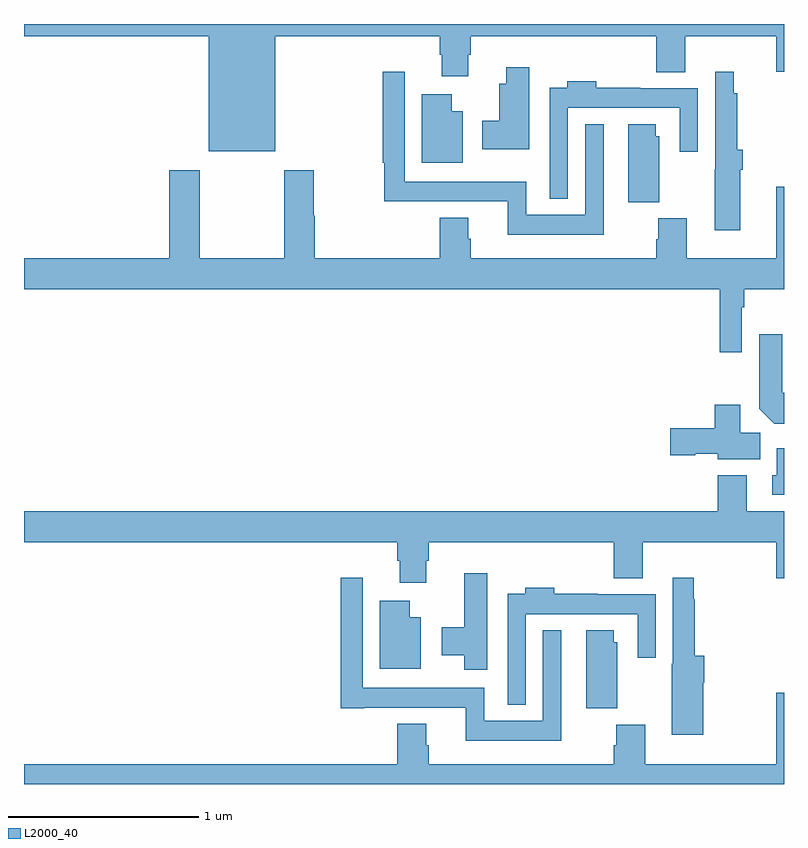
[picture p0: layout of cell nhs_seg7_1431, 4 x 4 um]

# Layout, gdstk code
import gdstk
lib = gdstk.Library(unit=1e-6, precision=1e-09)
def P(c, l, *ps):  # polygons
    for p in ps: c.add(gdstk.Polygon(p, *l))
L2000_40 = (2000, 40)

nhs_seg7_1431 = lib.new_cell('nhs_seg7_1431')
P(nhs_seg7_1431, L2000_40, [(210.322,1013.936),(211.187,1013.936),(211.187,1013.838),(211.199,1013.838),(211.199,1013.724),(211.339,1013.724),(211.339,1013.838),(211.352,1013.838),(211.352,1013.936),(212.327,1013.936),(212.327,1013.747),(212.479,1013.747),(212.479,1013.936),(212.96,1013.936),(212.96,1013.748),(213,1013.748),(213,1014),(209,1014),(209,1013.936),(209.972,1013.936),(209.972,1013.33),(210.322,1013.33)],
  [(211.66,1013.773),(211.538,1013.773),(211.538,1013.686),(211.502,1013.686),(211.502,1013.49),(211.413,1013.49),(211.413,1013.342),(211.66,1013.342)],
  [(212.05,1013.473),(211.953,1013.473),(211.953,1012.996),(211.644,1012.996),(211.644,1013.17),(211.005,1013.17),(211.005,1013.749),(210.889,1013.749),(210.889,1013.27),(210.897,1013.27),(210.897,1013.066),(211.547,1013.066),(211.547,1012.892),(212.05,1012.892)],
  [(212.77,1013.234),(212.783,1013.234),(212.783,1013.338),(212.753,1013.338),(212.753,1013.636),(212.736,1013.636),(212.736,1013.749),(212.637,1013.749),(212.637,1013.234),(212.636,1013.234),(212.636,1012.914),(212.77,1012.914)],
  [(211.863,1013.558),(212.451,1013.558),(212.451,1013.328),(212.547,1013.328),(212.547,1013.662),(212.243,1013.662),(212.243,1013.665),(212.012,1013.665),(212.012,1013.698),(211.859,1013.698),(211.859,1013.665),(211.767,1013.665),(211.767,1013.081),(211.863,1013.081)],
  [(211.309,1013.542),(211.252,1013.542),(211.252,1013.629),(211.094,1013.629),(211.094,1013.27),(211.309,1013.27)],
  [(212.344,1013.409),(212.326,1013.409),(212.326,1013.473),(212.18,1013.473),(212.18,1013.062),(212.344,1013.062)],
  [(212.778,1012.508),(212.791,1012.508),(212.791,1012.604),(213,1012.604),(213,1013.143),(212.96,1013.143),(212.96,1012.768),(212.487,1012.768),(212.487,1012.977),(212.339,1012.977),(212.339,1012.868),(212.327,1012.868),(212.327,1012.768),(211.352,1012.768),(211.352,1012.869),(211.339,1012.869),(211.339,1012.981),(211.187,1012.981),(211.187,1012.768),(210.53,1012.768),(210.53,1012.991),(210.525,1012.991),(210.525,1013.23),(210.37,1013.23),(210.37,1012.768),(209.925,1012.768),(209.925,1013.23),(209.765,1013.23),(209.765,1012.768),(209,1012.768),(209,1012.604),(212.662,1012.604),(212.662,1012.272),(212.778,1012.272)],
  [(213,1012.06),(212.992,1012.06),(212.992,1012.366),(212.87,1012.366),(212.87,1011.974),(212.948,1011.896),(213,1011.896)],
  [(212.875,1011.848),(212.77,1011.848),(212.77,1011.997),(212.636,1011.997),(212.636,1011.872),(212.4,1011.872),(212.4,1011.73),(212.532,1011.73),(212.532,1011.737),(212.652,1011.737),(212.652,1011.71),(212.875,1011.71)],
  [(213,1011.766),(212.963,1011.766),(212.963,1011.624),(212.939,1011.624),(212.939,1011.522),(213,1011.522)],
  [(211.117,1011.174),(211.13,1011.174),(211.13,1011.272),(212.105,1011.272),(212.105,1011.083),(212.257,1011.083),(212.257,1011.272),(212.96,1011.272),(212.96,1011.084),(213,1011.084),(213,1011.436),(212.803,1011.436),(212.803,1011.625),(212.651,1011.625),(212.651,1011.436),(209,1011.436),(209,1011.272),(210.965,1011.272),(210.965,1011.174),(210.977,1011.174),(210.977,1011.06),(211.117,1011.06)],
  [(211.438,1011.109),(211.316,1011.109),(211.316,1010.826),(211.199,1010.826),(211.199,1010.678),(211.316,1010.678),(211.316,1010.601),(211.438,1010.601)],
  [(211.828,1010.809),(211.731,1010.809),(211.731,1010.332),(211.422,1010.332),(211.422,1010.506),(210.783,1010.506),(210.783,1011.085),(210.667,1011.085),(210.667,1010.4),(210.79,1010.4),(210.79,1010.402),(211.325,1010.402),(211.325,1010.228),(211.828,1010.228)],
  [(212.574,1010.534),(212.579,1010.534),(212.579,1010.674),(212.531,1010.674),(212.531,1010.972),(212.524,1010.972),(212.524,1011.085),(212.415,1011.085),(212.415,1010.634),(212.408,1010.634),(212.408,1010.258),(212.574,1010.258)],
  [(211.641,1010.894),(212.229,1010.894),(212.229,1010.664),(212.325,1010.664),(212.325,1010.998),(212.021,1010.998),(212.021,1011.001),(211.79,1011.001),(211.79,1011.034),(211.637,1011.034),(211.637,1011.001),(211.545,1011.001),(211.545,1010.417),(211.641,1010.417)],
  [(211.087,1010.878),(211.03,1010.878),(211.03,1010.965),(210.872,1010.965),(210.872,1010.606),(211.087,1010.606)],
  [(212.122,1010.745),(212.104,1010.745),(212.104,1010.809),(211.958,1010.809),(211.958,1010.398),(212.122,1010.398)],
  [(213,1010.479),(212.96,1010.479),(212.96,1010.104),(212.27,1010.104),(212.27,1010.313),(212.117,1010.313),(212.117,1010.204),(212.105,1010.204),(212.105,1010.104),(211.13,1010.104),(211.13,1010.205),(211.117,1010.205),(211.117,1010.317),(210.965,1010.317),(210.965,1010.104),(209,1010.104),(209,1010),(213,1010)])

lib.write_gds('nhs_seg7_1431.gds')
